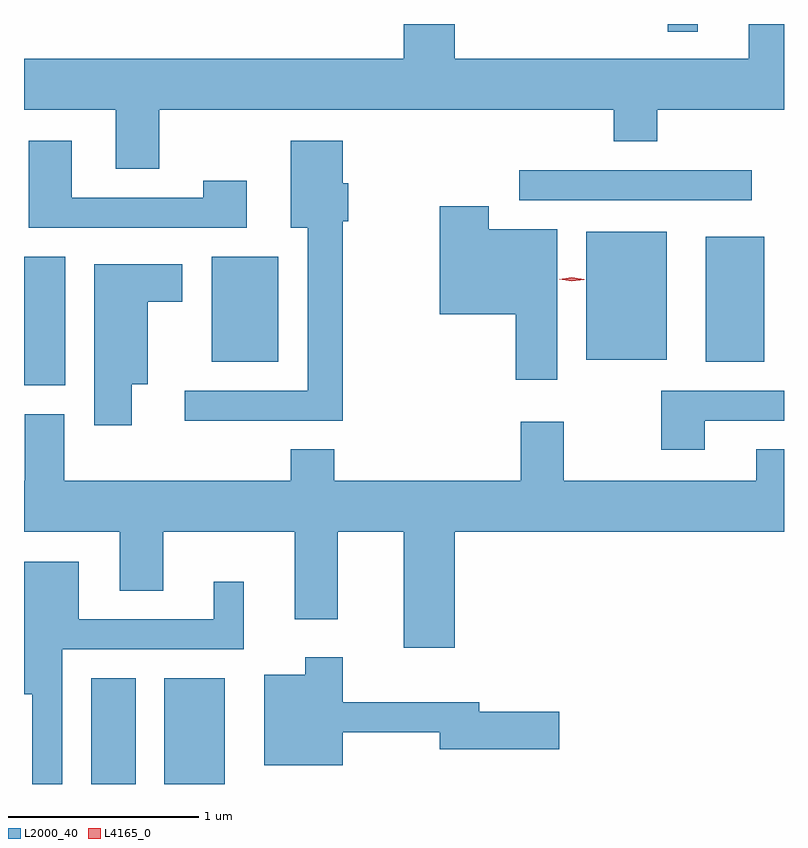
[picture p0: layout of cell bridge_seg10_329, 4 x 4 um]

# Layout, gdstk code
import gdstk
lib = gdstk.Library(unit=1e-6, precision=1e-09)
def R(c, l, rs):  # rectangles x0, y0, x1, y1
    for r in rs: c.add(gdstk.rectangle(r[:2], r[2:], *l))
def P(c, l, *ps):  # polygons
    for p in ps: c.add(gdstk.Polygon(p, *l))
L2000_40 = (2000, 40)
L4165_0 = (4165, 0)

bridge_seg10_329 = lib.new_cell('bridge_seg10_329')
R(bridge_seg10_329, L2000_40, [(1332.311,2179.188,1332.544,2179.744), (1332.696,2179.188,1333.014,2179.744), (1331.957,2181.286,1332.174,2181.964), (1332.946,2181.411,1333.294,2181.964), (1335.546,2181.411,1335.854,2182.069), (1334.916,2181.421,1335.339,2182.094), (1334.563,2182.261,1335.788,2182.419), (1335.346,2183.148,1335.504,2183.188)])
P(bridge_seg10_329, L2000_40, [(1332.669,2182.736),(1335.061,2182.736),(1335.061,2182.571),(1335.289,2182.571),(1335.289,2182.736),(1335.957,2182.736),(1335.957,2183.188),(1335.771,2183.188),(1335.771,2183.004),(1334.224,2183.004),(1334.224,2183.188),(1333.956,2183.188),(1333.956,2183.004),(1331.957,2183.004),(1331.957,2182.736),(1332.441,2182.736),(1332.441,2182.426),(1332.669,2182.426)],
  [(1333.634,2182.151),(1333.664,2182.151),(1333.664,2182.349),(1333.634,2182.349),(1333.634,2182.574),(1333.361,2182.574),(1333.361,2182.116),(1333.451,2182.116),(1333.451,2181.259),(1332.803,2181.259),(1332.803,2181.101),(1333.634,2181.101)],
  [(1333.129,2182.364),(1332.901,2182.364),(1332.901,2182.274),(1332.209,2182.274),(1332.209,2182.574),(1331.981,2182.574),(1331.981,2182.116),(1333.129,2182.116)],
  [(1334.764,2182.109),(1334.404,2182.109),(1334.404,2182.229),(1334.146,2182.229),(1334.146,2181.661),(1334.546,2181.661),(1334.546,2181.316),(1334.764,2181.316)],
  [(1332.524,2181.291),(1332.609,2181.291),(1332.609,2181.726),(1332.789,2181.726),(1332.789,2181.924),(1332.326,2181.924),(1332.326,2181.076),(1332.524,2181.076)],
  [(1335.539,2181.101),(1335.957,2181.101),(1335.957,2181.259),(1335.311,2181.259),(1335.311,2180.946),(1335.539,2180.946)],
  [(1334.224,2180.516),(1335.957,2180.516),(1335.957,2180.949),(1335.811,2180.949),(1335.811,2180.784),(1334.799,2180.784),(1334.799,2181.094),(1334.571,2181.094),(1334.571,2180.784),(1333.589,2180.784),(1333.589,2180.949),(1333.361,2180.949),(1333.361,2180.784),(1332.169,2180.784),(1332.169,2181.134),(1331.961,2181.134),(1331.961,2180.784),(1331.957,2180.784),(1331.957,2180.516),(1332.461,2180.516),(1332.461,2180.206),(1332.689,2180.206),(1332.689,2180.516),(1333.381,2180.516),(1333.381,2180.056),(1333.609,2180.056),(1333.609,2180.516),(1333.956,2180.516),(1333.956,2179.906),(1334.224,2179.906)],
  [(1332.159,2179.896),(1333.114,2179.896),(1333.114,2180.253),(1332.956,2180.253),(1332.956,2180.054),(1332.244,2180.054),(1332.244,2180.359),(1331.957,2180.359),(1331.957,2179.661),(1332.001,2179.661),(1332.001,2179.188),(1332.159,2179.188)],
  [(1333.634,2179.461),(1334.146,2179.461),(1334.146,2179.371),(1334.774,2179.371),(1334.774,2179.569),(1334.354,2179.569),(1334.354,2179.619),(1333.634,2179.619),(1333.634,2179.854),(1333.436,2179.854),(1333.436,2179.764),(1333.221,2179.764),(1333.221,2179.286),(1333.634,2179.286)])
P(bridge_seg10_329, L4165_0, [(1334.84,2181.834),(1334.774,2181.844),(1334.773,2181.844),(1334.774,2181.845),(1334.84,2181.854),(1334.906,2181.844),(1334.906,2181.844),(1334.906,2181.843)])

lib.write_gds('bridge_seg10_329.gds')
